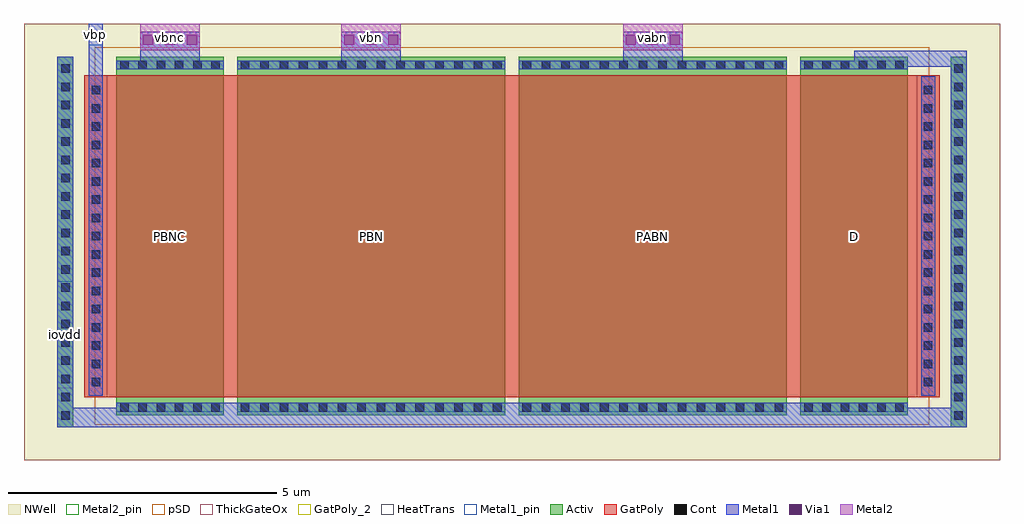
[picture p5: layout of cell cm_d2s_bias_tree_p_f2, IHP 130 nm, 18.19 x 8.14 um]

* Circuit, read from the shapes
.subckt cm_d2s_bias_tree_p_f2 iovdd vabn vbn vbnc vbp
XM1 vbnc vbp iovdd iovdd sg13_hv_pmos w=2u l=6u
XM2 vbn vbp iovdd iovdd sg13_hv_pmos w=5u l=6u
XM3 vabn vbp iovdd iovdd sg13_hv_pmos w=5u l=6u
XM4 iovdd vbp iovdd iovdd sg13_hv_pmos w=2u l=6u
.ends

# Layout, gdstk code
from math import pi, radians
import gdstk
lib = gdstk.Library(unit=1e-6, precision=1e-09)
def R(c, l, rs):  # rectangles x0, y0, x1, y1
    for r in rs: c.add(gdstk.rectangle(r[:2], r[2:], *l))
def A(c, l, x, y, w, h, nx, ny, dx, dy):  # array of equal rectangles
    R(c, l, [(x+i*dx, y+j*dy, x+i*dx+w, y+j*dy+h) for i in range(nx) for j in range(ny)])
Activ = (1, 0)
GatPoly = (5, 0)
GatPoly_2 = (5, 2)
Cont = (6, 0)
Metal1 = (8, 0)
Metal1_pin = (8, 2)
Metal2 = (10, 0)
Metal2_pin = (10, 2)
pSD = (14, 0)
Via1 = (19, 0)
NWell = (31, 0)
ThickGateOx = (44, 0)
HeatTrans = (51, 0)

cm_d2s_pmoshv_w5_l6 = lib.new_cell('cm_d2s_pmosHV_w5_l6')
R(cm_d2s_pmoshv_w5_l6, Activ, [(0,0,0.3,0.3), (0,0,6.68,5), (6.38,0,6.68,0.3)])
R(cm_d2s_pmoshv_w5_l6, GatPoly, [(0.34,-0.18,6.34,5.18)])
R(cm_d2s_pmoshv_w5_l6, GatPoly_2, [(0.34,-0.18,6.34,5.18)])
A(cm_d2s_pmoshv_w5_l6, Cont, 0.07, 0.07, 0.16, 0.16, 1, 4, 0, 0.36)
A(cm_d2s_pmoshv_w5_l6, Cont, 6.45, 0.07, 0.16, 0.16, 1, 4, 0, 0.36)
A(cm_d2s_pmoshv_w5_l6, Cont, 0.07, 1.515, 0.16, 0.16, 1, 3, 0, 0.36)
A(cm_d2s_pmoshv_w5_l6, Cont, 6.45, 1.515, 0.16, 0.16, 1, 3, 0, 0.36)
A(cm_d2s_pmoshv_w5_l6, Cont, 0.07, 2.6, 0.16, 0.16, 1, 3, 0, 0.36)
A(cm_d2s_pmoshv_w5_l6, Cont, 6.45, 2.6, 0.16, 0.16, 1, 3, 0, 0.36)
A(cm_d2s_pmoshv_w5_l6, Cont, 0.07, 3.685, 0.16, 0.16, 1, 3, 0, 0.36)
A(cm_d2s_pmoshv_w5_l6, Cont, 6.45, 3.685, 0.16, 0.16, 1, 3, 0, 0.36)
R(cm_d2s_pmoshv_w5_l6, Cont, [(0.07,4.77,0.23,4.93), (6.45,4.77,6.61,4.93)])
R(cm_d2s_pmoshv_w5_l6, Metal1, [(0.07,0,0.23,5), (6.45,0,6.61,5)])
R(cm_d2s_pmoshv_w5_l6, Metal1_pin, [(0.07,0,0.23,5), (6.45,0,6.61,5)])
R(cm_d2s_pmoshv_w5_l6, pSD, [(-0.18,-0.4,6.86,5.4)])
R(cm_d2s_pmoshv_w5_l6, NWell, [(-0.62,-0.62,7.3,5.62)])
R(cm_d2s_pmoshv_w5_l6, ThickGateOx, [(-0.62,-0.62,7.3,5.62)])
R(cm_d2s_pmoshv_w5_l6, HeatTrans, [(0.34,-0.18,6.34,5.18)])
cm_d2s_pmoshv_w5_l6.add(gdstk.Label('pmosHV', (3.34,2.5), layer=63, texttype=0))
cm_d2s_pmoshv_w5_l6.add(gdstk.Label('pmos', (3.34,2.5), layer=51, texttype=0))

cm_d2s_pmoshv_w2_l6 = lib.new_cell('cm_d2s_pmosHV_w2_l6')
R(cm_d2s_pmoshv_w2_l6, Activ, [(0,0,0.3,0.3), (0,0,6.68,2), (6.38,0,6.68,0.3)])
R(cm_d2s_pmoshv_w2_l6, GatPoly, [(0.34,-0.18,6.34,2.18)])
R(cm_d2s_pmoshv_w2_l6, GatPoly_2, [(0.34,-0.18,6.34,2.18)])
A(cm_d2s_pmoshv_w2_l6, Cont, 0.07, 0.07, 0.16, 0.16, 1, 6, 0, 0.34)
A(cm_d2s_pmoshv_w2_l6, Cont, 6.45, 0.07, 0.16, 0.16, 1, 6, 0, 0.34)
R(cm_d2s_pmoshv_w2_l6, Metal1, [(0.07,0,0.23,2), (6.45,0,6.61,2)])
R(cm_d2s_pmoshv_w2_l6, Metal1_pin, [(0.07,0,0.23,2), (6.45,0,6.61,2)])
R(cm_d2s_pmoshv_w2_l6, pSD, [(-0.18,-0.4,6.86,2.4)])
R(cm_d2s_pmoshv_w2_l6, NWell, [(-0.62,-0.62,7.3,2.62)])
R(cm_d2s_pmoshv_w2_l6, ThickGateOx, [(-0.62,-0.62,7.3,2.62)])
R(cm_d2s_pmoshv_w2_l6, HeatTrans, [(0.34,-0.18,6.34,2.18)])
cm_d2s_pmoshv_w2_l6.add(gdstk.Label('pmosHV', (3.34,1), layer=63, texttype=0))
cm_d2s_pmoshv_w2_l6.add(gdstk.Label('pmos', (3.34,1), layer=51, texttype=0))

cm_d2s_bias_tree_p_f2 = lib.new_cell('cm_d2s_bias_tree_p_f2')
R(cm_d2s_bias_tree_p_f2, Activ, [(0.62,0.62,0.92,7.52), (17.27,0.62,17.57,7.52)])
R(cm_d2s_bias_tree_p_f2, GatPoly, [(1.12,1.18,1.72,7.18), (16.47,1.18,17.07,7.18)])
A(cm_d2s_bias_tree_p_f2, Cont, 0.69, 0.76, 0.16, 0.16, 1, 20, 0, 0.34)
A(cm_d2s_bias_tree_p_f2, Cont, 17.34, 0.76, 0.16, 0.16, 1, 20, 0, 0.34)
A(cm_d2s_bias_tree_p_f2, Cont, 1.26, 1.38, 0.16, 0.16, 1, 17, 0, 0.34)
A(cm_d2s_bias_tree_p_f2, Cont, 16.77, 1.38, 0.16, 0.16, 1, 17, 0, 0.34)
R(cm_d2s_bias_tree_p_f2, Metal1, [(0.62,0.62,17.57,0.98), (0.62,0.62,0.92,7.52), (1.72,0.62,16.47,1.07), (17.27,0.62,17.57,7.52), (1.21,1.2,1.47,7.16), (16.72,1.2,16.98,7.16), (1.21,7.16,1.47,8.14), (2.165,7.29,3.275,7.985), (5.915,7.29,7.025,7.985), (11.165,7.29,12.275,7.985), (15.47,7.34,17.57,7.63)])
R(cm_d2s_bias_tree_p_f2, Metal1_pin, [(0.62,1.34,0.92,3.34), (1.21,7.74,1.47,8.14)])
R(cm_d2s_bias_tree_p_f2, Metal2, [(2.165,7.64,3.275,8.14), (5.915,7.64,7.025,8.14), (11.165,7.64,12.275,8.14)])
R(cm_d2s_bias_tree_p_f2, Metal2_pin, [(2.165,7.64,3.275,8.14), (5.915,7.64,7.025,8.14), (11.165,7.64,12.275,8.14)])
A(cm_d2s_bias_tree_p_f2, Via1, 2.215, 7.745, 0.19, 0.19, 3, 1, 0.41, 0)
A(cm_d2s_bias_tree_p_f2, Via1, 5.965, 7.745, 0.19, 0.19, 3, 1, 0.41, 0)
A(cm_d2s_bias_tree_p_f2, Via1, 11.215, 7.745, 0.19, 0.19, 3, 1, 0.41, 0)
R(cm_d2s_bias_tree_p_f2, NWell, [(0,0,18.19,8.14)])
R(cm_d2s_bias_tree_p_f2, ThickGateOx, [(0,0,18.19,8.14)])
cm_d2s_bias_tree_p_f2.add(gdstk.Reference(cm_d2s_pmoshv_w5_l6, (8.97,0.84), rotation=pi/2))
cm_d2s_bias_tree_p_f2.add(gdstk.Reference(cm_d2s_pmoshv_w5_l6, (9.22,0.84), rotation=pi/2, x_reflection=True))
cm_d2s_bias_tree_p_f2.add(gdstk.Reference(cm_d2s_pmoshv_w2_l6, (3.72,0.84), rotation=pi/2))
cm_d2s_bias_tree_p_f2.add(gdstk.Reference(cm_d2s_pmoshv_w2_l6, (14.47,0.84), rotation=pi/2, x_reflection=True))
cm_d2s_bias_tree_p_f2.add(gdstk.Label('PBNC', (2.72,4.18), layer=63, texttype=0))
cm_d2s_bias_tree_p_f2.add(gdstk.Label('PBN', (6.47,4.18), layer=63, texttype=0))
cm_d2s_bias_tree_p_f2.add(gdstk.Label('PABN', (11.72,4.18), layer=63, texttype=0))
cm_d2s_bias_tree_p_f2.add(gdstk.Label('D', (15.47,4.18), layer=63, texttype=0))
cm_d2s_bias_tree_p_f2.add(gdstk.Label('vbnc', (2.72,7.89), layer=10, texttype=25))
cm_d2s_bias_tree_p_f2.add(gdstk.Label('vbn', (6.47,7.89), layer=10, texttype=25))
cm_d2s_bias_tree_p_f2.add(gdstk.Label('vabn', (11.72,7.89), layer=10, texttype=25))
cm_d2s_bias_tree_p_f2.add(gdstk.Label('iovdd', (0.77,2.34), layer=8, texttype=25))
cm_d2s_bias_tree_p_f2.add(gdstk.Label('vbp', (1.34,7.94), layer=8, texttype=25))

lib.write_gds('cm_d2s_bias_tree_p_f2.gds')
